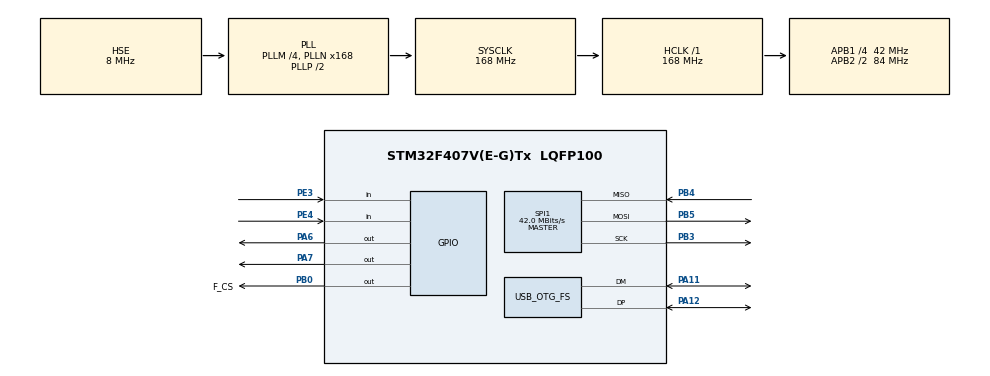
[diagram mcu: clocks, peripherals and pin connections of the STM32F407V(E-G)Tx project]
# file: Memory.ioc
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Mcu.Family=STM32F4
Mcu.Name=STM32F407V(E-G)Tx
Mcu.Package=LQFP100
NVIC.OTG_FS_IRQn=true\:0\:0\:false\:false\:true\:false\:true\:true
NVIC.PriorityGroup=NVIC_PRIORITYGROUP_4
NVIC.TIM4_IRQn=true\:0\:0\:false\:false\:true\:true\:true\:true
PA11.Mode=Device_Only
PA11.Signal=USB_OTG_FS_DM
PA12.Mode=Device_Only
PA12.Signal=USB_OTG_FS_DP
PA13.Mode=Serial_Wire
PA13.Signal=SYS_JTMS-SWDIO
PA14.Mode=Serial_Wire
PA14.Signal=SYS_JTCK-SWCLK
PA6.Signal=GPIO_Output
PA7.PinState=GPIO_PIN_SET
PA7.Signal=GPIO_Output
PB0.GPIO_Label=F_CS
PB0.Signal=GPIO_Output
PB3.Mode=Full_Duplex_Master
PB3.Signal=SPI1_SCK
PB4.Mode=Full_Duplex_Master
PB4.Signal=SPI1_MISO
PB5.Mode=Full_Duplex_Master
PB5.Signal=SPI1_MOSI
PE3.GPIO_PuPd=GPIO_PULLUP
PE3.Signal=GPIO_Input
PE4.GPIO_PuPd=GPIO_PULLUP
PE4.Signal=GPIO_Input
PH0-OSC_IN.Mode=HSE-External-Oscillator
PH0-OSC_IN.Signal=RCC_OSC_IN
PH1-OSC_OUT.Mode=HSE-External-Oscillator
PH1-OSC_OUT.Signal=RCC_OSC_OUT
ProjectManager.HeapSize=0x200
ProjectManager.StackSize=0x400
ProjectManager.TargetToolchain=STM32CubeIDE
RCC.48MHZClocksFreq_Value=48000000
RCC.AHBFreq_Value=168000000
RCC.APB1CLKDivider=RCC_HCLK_DIV4
RCC.APB1Freq_Value=42000000
RCC.APB1TimFreq_Value=84000000
RCC.APB2CLKDivider=RCC_HCLK_DIV2
RCC.APB2Freq_Value=84000000
RCC.APB2TimFreq_Value=168000000
RCC.CortexFreq_Value=168000000
RCC.HCLKFreq_Value=168000000
RCC.HSE_VALUE=8000000
RCC.HSI_VALUE=16000000
RCC.LSE_VALUE=32768
RCC.PLLM=4
RCC.PLLN=168
RCC.PLLQ=7
RCC.SYSCLKFreq_VALUE=168000000
RCC.SYSCLKSource=RCC_SYSCLKSOURCE_PLLCLK
RCC.VCOOutputFreq_Value=336000000
SPI1.CalculateBaudRate=42.0 MBits/s
SPI1.Direction=SPI_DIRECTION_2LINES
SPI1.Mode=SPI_MODE_MASTER
SPI1.VirtualType=VM_MASTER
TIM4.Period=1000
TIM4.Prescaler=41999
USB_DEVICE.CLASS_NAME_FS=CDC
USB_DEVICE.VirtualMode-CDC_FS=Cdc
USB_DEVICE.VirtualModeFS=Cdc_FS
USB_OTG_FS.VirtualMode=Device_Only
VP_TIM4_VS_ClockSourceINT.Mode=Internal
VP_USB_DEVICE_VS_USB_DEVICE_CDC_FS.Mode=CDC_FS
board=custom

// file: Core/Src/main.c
/* USER CODE BEGIN Header */
/**
  ******************************************************************************
  * @file           : main.c
  * @brief          : Main program body
  ******************************************************************************
  * @attention
  *
  * Copyright (c) 2025 STMicroelectronics.
  * All rights reserved.
  *
  * This software is licensed under terms that can be found in the LICENSE file
  * in the root directory of this software component.
  * If no LICENSE file comes with this software, it is provided AS-IS.
  *
  ******************************************************************************
  */
/* USER CODE END Header */
#include "main.h"
#include "usb_device.h"

/* USER CODE BEGIN Includes */
#include <stdbool.h>
#include "usbd_cdc_if.h"
/* USER CODE END Includes */

/* USER CODE BEGIN PD */
#define W25_CSL HAL_GPIO_WritePin(F_CS_GPIO_Port, F_CS_Pin, GPIO_PIN_RESET);
#define W25_CSH HAL_GPIO_WritePin(F_CS_GPIO_Port, F_CS_Pin, GPIO_PIN_SET);
#define READ      0x03
#define WRITE     0x02
#define WRITE_EN  0x06
#define WRITE_DS  0x04
#define ERASE_SEC 0x20
#define SR1_READ  0x05
#define ID_READ   0x90
#define JEDEC_READ 0x9f
/* USER CODE END PD */

SPI_HandleTypeDef hspi1;

TIM_HandleTypeDef htim4;

/* USER CODE BEGIN PV */
char str_tx[256];
uint8_t buffer[256];
bool flash_is_empty;
/* USER CODE END PV */

void SystemClock_Config(void);
static void MX_GPIO_Init(void);
static void MX_TIM4_Init(void);
static void MX_SPI1_Init(void);
/* USER CODE BEGIN PFP */
void init();
void loop();

uint16_t Read_ID(void);
uint32_t Read_JEDEC(void);
uint8_t Read_SR1(void);
void Read_Page(uint32_t addr, uint8_t *rData);

void WriteEnable(void);
void WriteDisable(void);
void Write_Page(uint32_t addr, uint8_t *wData);

void EraseSec(uint32_t addr);
/* USER CODE END PFP */

/* USER CODE BEGIN 0 */
void init()
{
	HAL_TIM_Base_Start_IT(&htim4);
//	sprintf(str_tx, "Hello Flash!\r\n");
//	CDC_Transmit_FS((unsigned char*)str_tx, strlen(str_tx));
	flash_is_empty = false;
	memset(buffer, 0xff, 256*sizeof(uint8_t));

	return;
}

void loop()
{
	if (!HAL_GPIO_ReadPin(GPIOE, GPIO_PIN_3))
	{
		HAL_GPIO_WritePin(GPIOA, GPIO_PIN_7, GPIO_PIN_RESET);
//		HAL_GPIO_TogglePin(GPIOA, GPIO_PIN_7);
		Read_Page(0, buffer);
//		sprintf(str_tx, "Key pressed.\r\n");
		sprintf(str_tx,
				"ID: %x\r\n" \
				"JEDEC: %lx\r\n" \
				"%02x %02x %02x %02x %02x %02x %02x %02x %02x\r\n",
				Read_ID(), Read_JEDEC(),
				buffer[0], buffer[1], buffer[2], buffer[3], buffer[4], buffer[5], buffer[6], buffer[7], buffer[8]);
		CDC_Transmit_FS((unsigned char*)str_tx, strlen(str_tx));
		HAL_Delay(500);
		HAL_GPIO_WritePin(GPIOA, GPIO_PIN_7, GPIO_PIN_SET);
		goto end;
	}
	else if (!HAL_GPIO_ReadPin(GPIOE, GPIO_PIN_4))
	{
		HAL_GPIO_WritePin(GPIOA, GPIO_PIN_7, GPIO_PIN_RESET);
		if (flash_is_empty)
		{
			WriteEnable();
			for (uint16_t i = 0; i < 256; ++i)
			{
				buffer[i] = 0xff;
			}
			buffer[0] = 0x55;
			buffer[1] = 0xff;
			buffer[2] = 0x00;
			buffer[3] = 0xAA;
			Write_Page(0, buffer);
			WriteDisable();
			flash_is_empty = false;
			sprintf(str_tx, "Flash has modified!\r\n");
			CDC_Transmit_FS((unsigned char*)str_tx, strlen(str_tx));
			HAL_Delay(500);
			HAL_GPIO_WritePin(GPIOA, GPIO_PIN_7, GPIO_PIN_SET);
			goto end;
		}
		else if (buffer[0] != 0xff)
		{
			WriteEnable();
			EraseSec(0);
			WriteDisable();
			flash_is_empty = true;
			sprintf(str_tx, "Flash has erased!\r\n");
			CDC_Transmit_FS((unsigned char*)str_tx, strlen(str_tx));
			HAL_Delay(500);
			HAL_GPIO_WritePin(GPIOA, GPIO_PIN_7, GPIO_PIN_SET);
		}
		goto end;
	}
	HAL_Delay(500);

	end:
		__NOP();
	return;
}
/* USER CODE END 0 */

int main(void)
{

  /* MCU Configuration--------------------------------------------------------*/

  /* Reset of all peripherals, Initializes the Flash interface and the Systick. */
  HAL_Init();

  /* Configure the system clock */
  SystemClock_Config();

  /* Initialize all configured peripherals */
  MX_GPIO_Init();
  MX_USB_DEVICE_Init();
  MX_TIM4_Init();
  MX_SPI1_Init();

  /* Infinite loop */
  /* USER CODE BEGIN WHILE */
  init();
  while (1)
  {
	loop();
    /* USER CODE END WHILE */

  }
}

void SystemClock_Config(void)
{
  RCC_OscInitTypeDef RCC_OscInitStruct = {0};
  RCC_ClkInitTypeDef RCC_ClkInitStruct = {0};

  /** Configure the main internal regulator output voltage
  */
  __HAL_RCC_PWR_CLK_ENABLE();
  __HAL_PWR_VOLTAGESCALING_CONFIG(PWR_REGULATOR_VOLTAGE_SCALE1);

  /** Initializes the RCC Oscillators according to the specified parameters
  * in the RCC_OscInitTypeDef structure.
  */
  RCC_OscInitStruct.OscillatorType = RCC_OSCILLATORTYPE_HSE;
  RCC_OscInitStruct.HSEState = RCC_HSE_ON;
  RCC_OscInitStruct.PLL.PLLState = RCC_PLL_ON;
  RCC_OscInitStruct.PLL.PLLSource = RCC_PLLSOURCE_HSE;
  RCC_OscInitStruct.PLL.PLLM = 4;
  RCC_OscInitStruct.PLL.PLLN = 168;
  RCC_OscInitStruct.PLL.PLLP = RCC_PLLP_DIV2;
  RCC_OscInitStruct.PLL.PLLQ = 7;
  if (HAL_RCC_OscConfig(&RCC_OscInitStruct) != HAL_OK)
  {
    Error_Handler();
  }

  /** Initializes the CPU, AHB and APB buses clocks
  */
  RCC_ClkInitStruct.ClockType = RCC_CLOCKTYPE_HCLK|RCC_CLOCKTYPE_SYSCLK
                              |RCC_CLOCKTYPE_PCLK1|RCC_CLOCKTYPE_PCLK2;
  RCC_ClkInitStruct.SYSCLKSource = RCC_SYSCLKSOURCE_PLLCLK;
  RCC_ClkInitStruct.AHBCLKDivider = RCC_SYSCLK_DIV1;
  RCC_ClkInitStruct.APB1CLKDivider = RCC_HCLK_DIV4;
  RCC_ClkInitStruct.APB2CLKDivider = RCC_HCLK_DIV2;

  if (HAL_RCC_ClockConfig(&RCC_ClkInitStruct, FLASH_LATENCY_5) != HAL_OK)
  {
    Error_Handler();
  }
}

static void MX_SPI1_Init(void)
{

  /* SPI1 parameter configuration*/
  hspi1.Instance = SPI1;
  hspi1.Init.Mode = SPI_MODE_MASTER;
  hspi1.Init.Direction = SPI_DIRECTION_2LINES;
  hspi1.Init.DataSize = SPI_DATASIZE_8BIT;
  hspi1.Init.CLKPolarity = SPI_POLARITY_LOW;
  hspi1.Init.CLKPhase = SPI_PHASE_1EDGE;
  hspi1.Init.NSS = SPI_NSS_SOFT;
  hspi1.Init.BaudRatePrescaler = SPI_BAUDRATEPRESCALER_2;
  hspi1.Init.FirstBit = SPI_FIRSTBIT_MSB;
  hspi1.Init.TIMode = SPI_TIMODE_DISABLE;
  hspi1.Init.CRCCalculation = SPI_CRCCALCULATION_DISABLE;
  hspi1.Init.CRCPolynomial = 10;
  if (HAL_SPI_Init(&hspi1) != HAL_OK)
  {
    Error_Handler();
  }

}

static void MX_TIM4_Init(void)
{

  TIM_ClockConfigTypeDef sClockSourceConfig = {0};
  TIM_MasterConfigTypeDef sMasterConfig = {0};

  htim4.Instance = TIM4;
  htim4.Init.Prescaler = 41999;
  htim4.Init.CounterMode = TIM_COUNTERMODE_UP;
  htim4.Init.Period = 1000;
  htim4.Init.ClockDivision = TIM_CLOCKDIVISION_DIV1;
  htim4.Init.AutoReloadPreload = TIM_AUTORELOAD_PRELOAD_DISABLE;
  if (HAL_TIM_Base_Init(&htim4) != HAL_OK)
  {
    Error_Handler();
  }
  sClockSourceConfig.ClockSource = TIM_CLOCKSOURCE_INTERNAL;
  if (HAL_TIM_ConfigClockSource(&htim4, &sClockSourceConfig) != HAL_OK)
  {
    Error_Handler();
  }
  sMasterConfig.MasterOutputTrigger = TIM_TRGO_RESET;
  sMasterConfig.MasterSlaveMode = TIM_MASTERSLAVEMODE_DISABLE;
  if (HAL_TIMEx_MasterConfigSynchronization(&htim4, &sMasterConfig) != HAL_OK)
  {
    Error_Handler();
  }

}

static void MX_GPIO_Init(void)
{
  GPIO_InitTypeDef GPIO_InitStruct = {0};

  /* GPIO Ports Clock Enable */
  __HAL_RCC_GPIOE_CLK_ENABLE();
  __HAL_RCC_GPIOH_CLK_ENABLE();
  __HAL_RCC_GPIOA_CLK_ENABLE();
  __HAL_RCC_GPIOB_CLK_ENABLE();

  /*Configure GPIO pin Output Level */
  HAL_GPIO_WritePin(GPIOA, GPIO_PIN_6, GPIO_PIN_RESET);

  /*Configure GPIO pin Output Level */
  HAL_GPIO_WritePin(GPIOA, GPIO_PIN_7, GPIO_PIN_SET);

  /*Configure GPIO pin Output Level */
  HAL_GPIO_WritePin(F_CS_GPIO_Port, F_CS_Pin, GPIO_PIN_RESET);

  /*Configure GPIO pins : PE3 PE4 */
  GPIO_InitStruct.Pin = GPIO_PIN_3|GPIO_PIN_4;
  GPIO_InitStruct.Mode = GPIO_MODE_INPUT;
  GPIO_InitStruct.Pull = GPIO_PULLUP;
  HAL_GPIO_Init(GPIOE, &GPIO_InitStruct);

  /*Configure GPIO pins : PA6 PA7 */
  GPIO_InitStruct.Pin = GPIO_PIN_6|GPIO_PIN_7;
  GPIO_InitStruct.Mode = GPIO_MODE_OUTPUT_PP;
  GPIO_InitStruct.Pull = GPIO_NOPULL;
  GPIO_InitStruct.Speed = GPIO_SPEED_FREQ_LOW;
  HAL_GPIO_Init(GPIOA, &GPIO_InitStruct);

  /*Configure GPIO pin : F_CS_Pin */
  GPIO_InitStruct.Pin = F_CS_Pin;
  GPIO_InitStruct.Mode = GPIO_MODE_OUTPUT_PP;
  GPIO_InitStruct.Pull = GPIO_NOPULL;
  GPIO_InitStruct.Speed = GPIO_SPEED_FREQ_LOW;
  HAL_GPIO_Init(F_CS_GPIO_Port, &GPIO_InitStruct);

}

/* USER CODE BEGIN 4 */
uint16_t Read_ID(void)
{
	uint8_t temp[4] = {0,};
	W25_CSL;
	temp[0] = ID_READ;
	HAL_SPI_Transmit(&hspi1, temp, 4, 1);
	while (HAL_SPI_GetState(&hspi1) != HAL_SPI_STATE_READY)
	{
		__NOP();
	}
	HAL_SPI_Receive(&hspi1, temp, 2, 1);
	W25_CSH;
	return ((temp[0]<<8) | temp[1]);
}

uint32_t Read_JEDEC(void)
{
	uint8_t temp[4] = {0,};
	W25_CSL;
	temp[0] = JEDEC_READ;
	HAL_SPI_Transmit(&hspi1, temp, 1, 1);
	while (HAL_SPI_GetState(&hspi1) != HAL_SPI_STATE_READY)
	{
		__NOP();
	}
	HAL_SPI_Receive(&hspi1, temp, 3, 1);
	W25_CSH;
	return ((temp[0]<<16) | (temp[1]<<8) | temp[2]);
}

uint8_t Read_SR1(void)
{
	uint8_t temp[1];
	W25_CSL;
	temp[0] = SR1_READ;
	HAL_SPI_Transmit(&hspi1, temp, 1, 1);
	while (HAL_SPI_GetState(&hspi1) != HAL_SPI_STATE_READY)
	{
		__NOP();
	}
	HAL_SPI_Receive(&hspi1, temp, 1, 1);
	W25_CSH;
	return temp[0];
}

void Read_Page(uint32_t addr, uint8_t *rData)
{
	uint8_t temp[4] = {0,};
	while (Read_SR1() & 1)
	{
		__NOP();
	}
	W25_CSL;
	temp[0] = READ;
	temp[1] = (addr>>16) & 0xff;
	temp[2] = (addr>>8) & 0xff;
	temp[3] = addr & 0xff;
	HAL_SPI_Transmit(&hspi1, temp, 4, 1);
	while (HAL_SPI_GetState(&hspi1) != HAL_SPI_STATE_READY)
	{
		__NOP();
	}
	HAL_SPI_Receive(&hspi1, rData, 256, 1);
	W25_CSH;
}

void WriteEnable(void)
{
	uint8_t temp[1];
	W25_CSL;
	temp[0] = WRITE_EN;
	HAL_SPI_Transmit(&hspi1, temp, 1, 1);
	W25_CSH;
}

void WriteDisable(void)
{
	uint8_t temp[1];
	W25_CSL;
	temp[0] = WRITE_DS;
	HAL_SPI_Transmit(&hspi1, temp, 1, 1);
	W25_CSH;
}

void Write_Page(uint32_t addr, uint8_t *wData)
{
	uint8_t temp[4] = {0,};
	while (Read_SR1() & 1)
	{
		__NOP();
	}
	W25_CSL;
	temp[0] = WRITE;
	temp[1] = (addr>>16) &  0xff;
	temp[2] = (addr>>8) & 0xff;
	temp[3] = addr & 0xff;
	HAL_SPI_Transmit(&hspi1, temp, 4, 1);
	HAL_SPI_Transmit(&hspi1, wData, 256, 1);
	while (HAL_SPI_GetState(&hspi1) != HAL_SPI_STATE_READY)
	{
		__NOP();
	}
	W25_CSH;
}

void EraseSec(uint32_t addr)
{
	uint8_t temp[4] = {0,};
	while (Read_SR1() & 1)
	{
		__NOP();
	}
	W25_CSL;
	temp[0] = ERASE_SEC;
	temp[1] = (addr>>16) & 0xff;
	temp[2] = (addr>>8) & 0xff;
	temp[3] = addr & 0xff;
	HAL_SPI_Transmit(&hspi1, temp, 4, 1);
	W25_CSH;
	HAL_Delay(1);
}

void HAL_TIM_PeriodElapsedCallback(TIM_HandleTypeDef *htim)
{
  if (htim->Instance == TIM4)
  {
	HAL_GPIO_TogglePin(GPIOA, GPIO_PIN_6);
  }
}
/* USER CODE END 4 */

void Error_Handler(void)
{
  __disable_irq();
  while (1)
  {
  }
}
